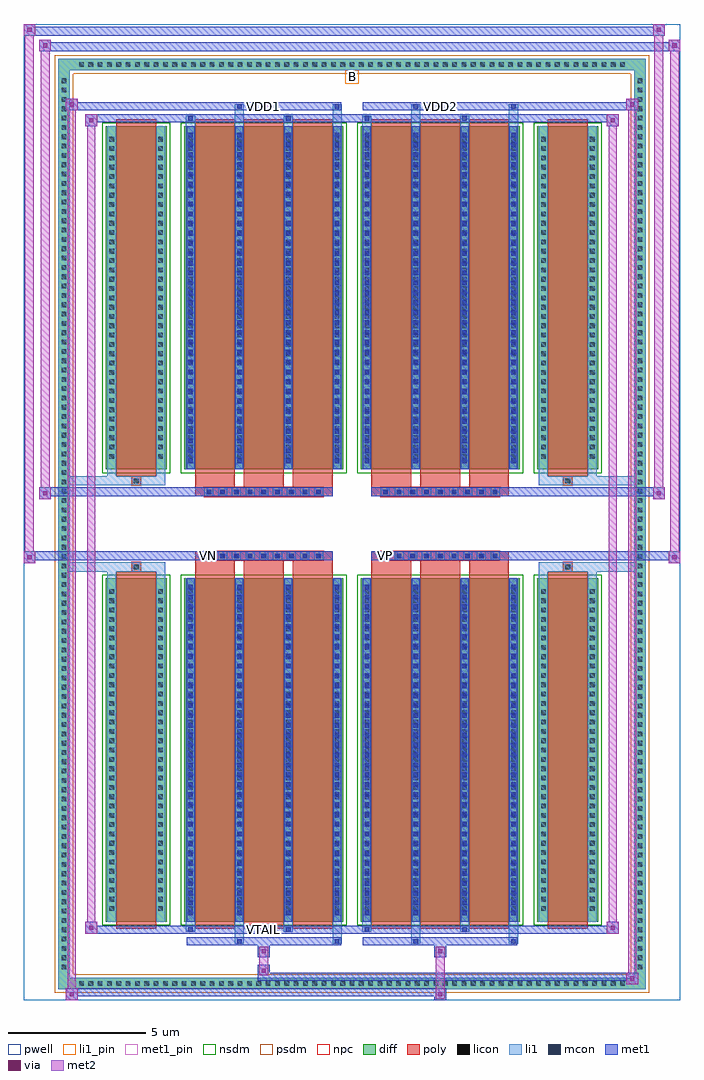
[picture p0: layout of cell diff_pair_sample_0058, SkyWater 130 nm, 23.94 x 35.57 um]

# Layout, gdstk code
import gdstk
lib = gdstk.Library(unit=1e-6, precision=5e-09)
def R(c, l, rs):  # rectangles x0, y0, x1, y1
    for r in rs: c.add(gdstk.rectangle(r[:2], r[2:], *l))
def A(c, l, x, y, w, h, nx, ny, dx, dy):  # array of equal rectangles
    R(c, l, [(x+i*dx, y+j*dy, x+i*dx+w, y+j*dy+h) for i in range(nx) for j in range(ny)])
def P(c, l, *ps):  # polygons
    for p in ps: c.add(gdstk.Polygon(p, *l))
pwell = (64, 44)
diff = (65, 20)
poly = (66, 20)
licon = (66, 44)
li1_pin = (67, 16)
li1 = (67, 20)
mcon = (67, 44)
met1_pin = (68, 16)
met1 = (68, 20)
via = (68, 44)
met2 = (69, 20)
nsdm = (93, 44)
psdm = (94, 20)
npc = (95, 20)

diff_pair_sample_0058 = lib.new_cell('diff_pair_sample_0058')
R(diff_pair_sample_0058, pwell, [(-11.97,-17.35,11.97,18.22), (-9.29,-15.54,-0.01,-0.8), (0.01,-15.54,9.29,-0.8), (-9.29,0.8,-0.01,15.54), (0.01,0.8,9.29,15.54)])
A(diff_pair_sample_0058, diff, -10.065, -16.95, 0.41, 0.41, 59, 2, 0.34, 33.49)
A(diff_pair_sample_0058, diff, -10.7, -16.355, 0.41, 0.41, 1, 96, 0, 0.34)
A(diff_pair_sample_0058, diff, 10.29, -16.355, 0.41, 0.41, 1, 96, 0, 0.34)
R(diff_pair_sample_0058, diff, [(-10.065,-16.95,10.065,-16.54), (-10.7,-16.355,-10.29,16.355), (10.29,-16.355,10.7,16.355), (-8.98,-14.495,-6.75,-1.985), (-6.11,-14.495,-0.32,-1.985), (0.32,-14.495,6.11,-1.985), (6.75,-14.495,8.98,-1.985), (-8.98,1.985,-6.75,14.495), (-6.11,1.985,-0.32,14.495), (0.32,1.985,6.11,14.495), (6.75,1.985,8.98,14.495), (-10.065,16.54,10.065,16.95)])
P(diff_pair_sample_0058, diff, [(10.7,16.95),(-10.7,16.95),(-10.7,-16.54),(-10.29,-16.54),(-10.29,16.54),(10.29,16.54),(10.29,-16.54),(-10.29,-16.54),(-10.7,-16.54),(-10.7,-16.95),(10.7,-16.95)])
A(diff_pair_sample_0058, poly, -5.72, -14.745, 1.45, 13.01, 3, 2, 1.78, 16.48)
A(diff_pair_sample_0058, poly, 0.71, -14.745, 1.45, 13.01, 3, 2, 1.78, 16.48)
A(diff_pair_sample_0058, poly, -5.72, -1.735, 1.45, 0.405, 3, 2, 1.78, 3.065)
A(diff_pair_sample_0058, poly, 0.71, -1.735, 1.45, 0.405, 3, 2, 1.78, 3.065)
A(diff_pair_sample_0058, poly, -5.38, -1.33, 0.33, 0.33, 9, 2, 0.5, 2.33)
A(diff_pair_sample_0058, poly, 1.05, -1.33, 0.33, 0.33, 9, 2, 0.5, 2.33)
R(diff_pair_sample_0058, poly, [(-8.59,-14.745,-7.14,-1.735), (7.14,-14.745,8.59,-1.735), (-8.03,-1.735,-7.7,-1.405), (-8.03,-1.735,-7.7,-1.405), (7.7,-1.735,8.03,-1.405), (7.7,-1.735,8.03,-1.405), (-5.72,-1.33,-0.71,-1), (0.71,-1.33,5.72,-1), (-5.72,1,-0.71,1.33), (0.71,1,5.72,1.33), (-8.03,1.405,-7.7,1.735), (-8.03,1.405,-7.7,1.735), (7.7,1.405,8.03,1.735), (7.7,1.405,8.03,1.735), (-8.59,1.735,-7.14,14.745), (7.14,1.735,8.59,14.745)])
A(diff_pair_sample_0058, licon, -9.945, -16.83, 0.17, 0.17, 59, 2, 0.34, 33.49)
A(diff_pair_sample_0058, licon, -10.58, -16.235, 0.17, 0.17, 1, 96, 0, 0.34)
A(diff_pair_sample_0058, licon, 10.41, -16.235, 0.17, 0.17, 1, 96, 0, 0.34)
A(diff_pair_sample_0058, licon, -8.84, -14.105, 0.17, 0.17, 1, 35, 0, 0.34)
A(diff_pair_sample_0058, licon, -7.06, -14.105, 0.17, 0.17, 1, 35, 0, 0.34)
A(diff_pair_sample_0058, licon, -5.97, -14.105, 0.17, 0.17, 4, 35, 1.78, 0.34)
A(diff_pair_sample_0058, licon, 0.46, -14.105, 0.17, 0.17, 4, 35, 1.78, 0.34)
A(diff_pair_sample_0058, licon, 6.89, -14.105, 0.17, 0.17, 1, 35, 0, 0.34)
A(diff_pair_sample_0058, licon, 8.67, -14.105, 0.17, 0.17, 1, 35, 0, 0.34)
A(diff_pair_sample_0058, licon, -5.3, -1.25, 0.17, 0.17, 9, 2, 0.5, 2.33)
A(diff_pair_sample_0058, licon, 1.13, -1.25, 0.17, 0.17, 9, 2, 0.5, 2.33)
A(diff_pair_sample_0058, licon, -8.84, 2.375, 0.17, 0.17, 1, 35, 0, 0.34)
A(diff_pair_sample_0058, licon, -7.06, 2.375, 0.17, 0.17, 1, 35, 0, 0.34)
A(diff_pair_sample_0058, licon, -5.97, 2.375, 0.17, 0.17, 4, 35, 1.78, 0.34)
A(diff_pair_sample_0058, licon, 0.46, 2.375, 0.17, 0.17, 4, 35, 1.78, 0.34)
A(diff_pair_sample_0058, licon, 6.89, 2.375, 0.17, 0.17, 1, 35, 0, 0.34)
A(diff_pair_sample_0058, licon, 8.67, 2.375, 0.17, 0.17, 1, 35, 0, 0.34)
R(diff_pair_sample_0058, licon, [(-7.95,-1.655,-7.78,-1.485), (7.78,-1.655,7.95,-1.485), (-7.95,1.485,-7.78,1.655), (7.78,1.485,7.95,1.655)])
R(diff_pair_sample_0058, li1_pin, [(-0.25,16.04,0.25,16.54)])
A(diff_pair_sample_0058, li1, -10.025, -16.91, 0.33, 0.33, 59, 2, 0.34, 33.49)
A(diff_pair_sample_0058, li1, -10.66, -16.315, 0.33, 0.33, 1, 96, 0, 0.34)
A(diff_pair_sample_0058, li1, 10.33, -16.315, 0.33, 0.33, 1, 96, 0, 0.34)
A(diff_pair_sample_0058, li1, -6.05, -14.495, 0.33, 12.51, 4, 2, 1.78, 16.48)
A(diff_pair_sample_0058, li1, 0.38, -14.495, 0.33, 12.51, 4, 2, 1.78, 16.48)
A(diff_pair_sample_0058, li1, -5.97, -14.265, 0.17, 0.17, 4, 34, 1.78, 0.36)
A(diff_pair_sample_0058, li1, -5.97, -14.265, 0.17, 12.05, 4, 2, 1.78, 16.48)
A(diff_pair_sample_0058, li1, 0.46, -14.265, 0.17, 0.17, 4, 34, 1.78, 0.36)
A(diff_pair_sample_0058, li1, 0.46, -14.265, 0.17, 12.05, 4, 2, 1.78, 16.48)
A(diff_pair_sample_0058, li1, -8.92, -14.185, 0.33, 0.33, 1, 35, 0, 0.34)
A(diff_pair_sample_0058, li1, -7.14, -14.185, 0.33, 0.33, 1, 35, 0, 0.34)
A(diff_pair_sample_0058, li1, -6.05, -14.185, 0.33, 0.33, 4, 35, 1.78, 0.34)
A(diff_pair_sample_0058, li1, 0.38, -14.185, 0.33, 0.33, 4, 35, 1.78, 0.34)
A(diff_pair_sample_0058, li1, 6.81, -14.185, 0.33, 0.33, 1, 35, 0, 0.34)
A(diff_pair_sample_0058, li1, 8.59, -14.185, 0.33, 0.33, 1, 35, 0, 0.34)
A(diff_pair_sample_0058, li1, -5.38, -1.33, 0.33, 0.33, 9, 2, 0.5, 2.33)
A(diff_pair_sample_0058, li1, 1.05, -1.33, 0.33, 0.33, 9, 2, 0.5, 2.33)
A(diff_pair_sample_0058, li1, -5.97, 2.215, 0.17, 0.17, 4, 34, 1.78, 0.36)
A(diff_pair_sample_0058, li1, 0.46, 2.215, 0.17, 0.17, 4, 34, 1.78, 0.36)
A(diff_pair_sample_0058, li1, -8.92, 2.295, 0.33, 0.33, 1, 35, 0, 0.34)
A(diff_pair_sample_0058, li1, -7.14, 2.295, 0.33, 0.33, 1, 35, 0, 0.34)
A(diff_pair_sample_0058, li1, -6.05, 2.295, 0.33, 0.33, 4, 35, 1.78, 0.34)
A(diff_pair_sample_0058, li1, 0.38, 2.295, 0.33, 0.33, 4, 35, 1.78, 0.34)
A(diff_pair_sample_0058, li1, 6.81, 2.295, 0.33, 0.33, 1, 35, 0, 0.34)
A(diff_pair_sample_0058, li1, 8.59, 2.295, 0.33, 0.33, 1, 35, 0, 0.34)
R(diff_pair_sample_0058, li1, [(-10.7,-16.95,-10.29,-16.54), (-10.7,-16.95,-10.29,-16.54), (-10.29,-16.95,10.29,-16.54), (10.29,-16.95,10.7,-16.54), (10.29,-16.95,10.7,-16.54), (-10.7,-16.54,-10.29,16.54), (10.29,-16.54,10.7,16.54), (-4.27,-15.3,-3.94,-14.495), (-4.19,-15.3,-4.02,-15.13), (-0.71,-15.3,-0.38,-14.495), (-0.63,-15.3,-0.46,-15.13), (2.16,-15.3,2.49,-14.495), (2.24,-15.3,2.41,-15.13), (5.72,-15.3,6.05,-14.495), (5.8,-15.3,5.97,-15.13), (-6.05,-14.87,-5.72,-14.495), (-5.97,-14.87,-5.8,-14.7), (-2.49,-14.87,-2.16,-14.495), (-2.41,-14.87,-2.24,-14.7), (0.38,-14.87,0.71,-14.495), (0.46,-14.87,0.63,-14.7), (3.94,-14.87,4.27,-14.495), (4.02,-14.87,4.19,-14.7), (-8.92,-14.495,-8.59,-1.985), (-7.14,-14.495,-6.81,-1.985), (6.81,-14.495,7.14,-1.985), (8.59,-14.495,8.92,-1.985), (-8.92,-1.985,-8.59,-1.405), (-7.14,-1.985,-6.81,-1.405), (6.81,-1.985,7.14,-1.405), (8.59,-1.985,8.92,-1.405), (-10.7,-1.735,-8.03,-1.405), (-8.92,-1.735,-8.03,-1.405), (-8.03,-1.735,-7.7,-1.405), (-7.7,-1.735,-6.81,-1.405), (6.81,-1.735,7.7,-1.405), (7.7,-1.735,8.03,-1.405), (7.7,-1.735,10.7,-1.405), (8.03,-1.735,8.92,-1.405), (-10.7,1.405,-8.03,1.735), (-8.92,1.405,-8.03,1.735), (-8.92,1.405,-8.59,1.985), (-8.03,1.405,-7.7,1.735), (-7.7,1.405,-6.81,1.735), (-7.14,1.405,-6.81,1.985), (6.81,1.405,7.7,1.735), (6.81,1.405,7.14,1.985), (7.7,1.405,8.03,1.735), (7.7,1.405,10.7,1.735), (8.03,1.405,8.92,1.735), (8.59,1.405,8.92,1.985), (-8.92,1.985,-8.59,14.495), (-7.14,1.985,-6.81,14.495), (6.81,1.985,7.14,14.495), (8.59,1.985,8.92,14.495), (-6.05,14.495,-5.72,14.87), (-4.27,14.495,-3.94,15.3), (-2.49,14.495,-2.16,14.87), (-0.71,14.495,-0.38,15.3), (0.38,14.495,0.71,14.87), (2.16,14.495,2.49,15.3), (3.94,14.495,4.27,14.87), (5.72,14.495,6.05,15.3), (-5.97,14.7,-5.8,14.87), (-2.41,14.7,-2.24,14.87), (0.46,14.7,0.63,14.87), (4.02,14.7,4.19,14.87), (-4.19,15.13,-4.02,15.3), (-0.63,15.13,-0.46,15.3), (2.24,15.13,2.41,15.3), (5.8,15.13,5.97,15.3), (-10.7,16.54,-10.29,16.95), (-10.7,16.54,-10.29,16.95), (-10.29,16.54,10.29,16.95), (10.29,16.54,10.7,16.95), (10.29,16.54,10.7,16.95)])
A(diff_pair_sample_0058, mcon, -5.97, -14.265, 0.17, 0.17, 4, 34, 1.78, 0.36)
A(diff_pair_sample_0058, mcon, 0.46, -14.265, 0.17, 0.17, 4, 34, 1.78, 0.36)
A(diff_pair_sample_0058, mcon, -5.3, -1.25, 0.17, 0.17, 9, 2, 0.5, 2.33)
A(diff_pair_sample_0058, mcon, 1.13, -1.25, 0.17, 0.17, 9, 2, 0.5, 2.33)
A(diff_pair_sample_0058, mcon, -5.97, 2.215, 0.17, 0.17, 4, 34, 1.78, 0.36)
A(diff_pair_sample_0058, mcon, 0.46, 2.215, 0.17, 0.17, 4, 34, 1.78, 0.36)
R(diff_pair_sample_0058, mcon, [(-4.19,-15.3,-4.02,-15.13), (-0.63,-15.3,-0.46,-15.13), (2.24,-15.3,2.41,-15.13), (5.8,-15.3,5.97,-15.13), (-5.97,-14.87,-5.8,-14.7), (-2.41,-14.87,-2.24,-14.7), (0.46,-14.87,0.63,-14.7), (4.02,-14.87,4.19,-14.7), (-5.97,14.7,-5.8,14.87), (-2.41,14.7,-2.24,14.87), (0.46,14.7,0.63,14.87), (4.02,14.7,4.19,14.87), (-4.19,15.13,-4.02,15.3), (-0.63,15.13,-0.46,15.3), (2.24,15.13,2.41,15.3), (5.8,15.13,5.97,15.3)])
R(diff_pair_sample_0058, met1_pin, [(-3.35,-14.91,-3.08,-14.64), (-5.35,-1.29,-5.08,-1.02), (1.08,-1.29,1.35,-1.02), (-3.35,15.09,-3.08,15.36), (3.08,15.09,3.35,15.36)])
A(diff_pair_sample_0058, met1, -6.03, -14.495, 0.29, 12.51, 4, 2, 1.78, 16.48)
A(diff_pair_sample_0058, met1, 0.4, -14.495, 0.29, 12.51, 4, 2, 1.78, 16.48)
A(diff_pair_sample_0058, met1, -6.03, -14.325, 0.29, 0.29, 4, 34, 1.78, 0.36)
A(diff_pair_sample_0058, met1, 0.4, -14.325, 0.29, 0.29, 4, 34, 1.78, 0.36)
A(diff_pair_sample_0058, met1, -5.36, -1.31, 0.29, 0.29, 9, 2, 0.5, 2.33)
A(diff_pair_sample_0058, met1, 1.07, -1.31, 0.29, 0.29, 9, 2, 0.5, 2.33)
A(diff_pair_sample_0058, met1, -6.03, 2.155, 0.29, 0.29, 4, 34, 1.78, 0.36)
A(diff_pair_sample_0058, met1, 0.4, 2.155, 0.29, 0.29, 4, 34, 1.78, 0.36)
R(diff_pair_sample_0058, met1, [(-10.43,-17.35,-10,-16.92), (3,-17.35,3.43,-16.92), (-10.43,-17.21,3.43,-16.92), (10,-16.78,10.43,-16.35), (-3.43,-16.64,10.43,-16.35), (-3.43,-16.5,-3,-16.07), (-3.43,-15.79,-3,-15.36), (3,-15.79,3.43,-15.36), (-6.03,-15.36,-0.4,-15.07), (-4.25,-15.36,-3.96,-15.07), (-0.69,-15.36,-0.4,-15.07), (0.4,-15.36,6.03,-15.07), (2.18,-15.36,2.47,-15.07), (5.74,-15.36,6.03,-15.07), (-9.72,-14.93,-9.29,-14.5), (-9.72,-14.93,-6.03,-14.64), (-6.03,-14.93,-5.74,-14.64), (-6.03,-14.93,-0.4,-14.64), (-2.47,-14.93,-2.18,-14.64), (-0.4,-14.93,0.4,-14.64), (0.4,-14.93,0.69,-14.64), (0.4,-14.93,6.03,-14.64), (3.96,-14.93,4.25,-14.64), (6.03,-14.93,9.72,-14.64), (9.29,-14.93,9.72,-14.5), (-11.97,-1.43,-11.54,-1), (11.54,-1.43,11.97,-1), (-11.97,-1.33,-0.71,-1), (-5.72,-1.33,-0.71,-1), (0.71,-1.33,5.72,-1), (0.71,-1.33,11.97,-1), (-11.4,0.9,-10.97,1.33), (10.97,0.9,11.4,1.33), (-11.4,1,-5.72,1.33), (-5.72,1,-0.71,1.33), (0.71,1,5.72,1.33), (5.72,1,11.4,1.33), (-9.72,14.5,-9.29,14.93), (9.29,14.5,9.72,14.93), (-9.72,14.64,-6.03,14.93), (-6.03,14.64,-5.74,14.93), (-6.03,14.64,-0.4,14.93), (-2.47,14.64,-2.18,14.93), (-0.4,14.64,0.4,14.93), (0.4,14.64,0.69,14.93), (0.4,14.64,6.03,14.93), (3.96,14.64,4.25,14.93), (6.03,14.64,9.72,14.93), (-10.43,15.07,-10,15.5), (-10.43,15.07,-6.03,15.36), (-6.03,15.07,-0.4,15.36), (-4.25,15.07,-3.96,15.36), (-0.69,15.07,-0.4,15.36), (0.4,15.07,6.03,15.36), (2.18,15.07,2.47,15.36), (5.74,15.07,6.03,15.36), (6.03,15.07,10.43,15.36), (10,15.07,10.43,15.5), (-11.4,17.22,-10.97,17.65), (-11.4,17.22,-9.29,17.55), (-9.29,17.22,9.29,17.55), (9.29,17.22,11.97,17.55), (11.54,17.22,11.97,17.65), (-11.97,17.79,-11.54,18.22), (-11.97,17.79,-9.29,18.12), (-9.29,17.79,9.29,18.12), (9.29,17.79,11.4,18.12), (10.97,17.79,11.4,18.22)])
R(diff_pair_sample_0058, via, [(-10.29,-17.21,-10.14,-17.06), (3.14,-17.21,3.29,-17.06), (10.14,-16.64,10.29,-16.49), (-3.29,-16.36,-3.14,-16.21), (-3.29,-15.65,-3.14,-15.5), (3.14,-15.65,3.29,-15.5), (-9.58,-14.79,-9.43,-14.64), (9.43,-14.79,9.58,-14.64), (-11.83,-1.29,-11.68,-1.14), (11.68,-1.29,11.83,-1.14), (-11.26,1.04,-11.11,1.19), (11.11,1.04,11.26,1.19), (-9.58,14.64,-9.43,14.79), (9.43,14.64,9.58,14.79), (-10.29,15.21,-10.14,15.36), (10.14,15.21,10.29,15.36), (-11.26,17.36,-11.11,17.51), (11.68,17.36,11.83,17.51), (-11.83,17.93,-11.68,18.08), (11.11,17.93,11.26,18.08)])
R(diff_pair_sample_0058, met2, [(-10.43,-17.35,-10,-16.92), (-10.36,-17.35,-10.07,15.5), (-10.07,-17.35,-10,-16.92), (-10.38,-17.3,-10.05,-16.97), (3.05,-17.3,3.38,-16.97), (3.05,-16.97,3.38,-15.74), (10,-16.78,10.43,-16.35), (10.07,-16.78,10.36,15.5), (10.36,-16.78,10.43,-16.35), (10.05,-16.73,10.38,-16.4), (-3.38,-16.45,-3.05,-16.12), (-3.38,-16.12,-3.05,-15.74), (-3.38,-15.74,-3.05,-15.41), (3.05,-15.74,3.38,-15.41), (-9.72,-14.93,-9.29,-14.5), (-9.65,-14.93,-9.36,14.93), (-9.36,-14.93,-9.29,-14.5), (9.29,-14.93,9.72,-14.5), (9.36,-14.93,9.65,14.93), (9.65,-14.93,9.72,-14.5), (-9.67,-14.88,-9.34,-14.55), (9.34,-14.88,9.67,-14.55), (-11.97,-1.43,-11.54,-1), (-11.92,-1.43,-11.59,18.22), (-11.59,-1.43,-11.54,-1), (11.54,-1.43,11.97,-1), (11.59,-1.43,11.92,17.65), (11.92,-1.43,11.97,-1), (-11.92,-1.38,-11.59,-1.05), (11.59,-1.38,11.92,-1.05), (-11.4,0.9,-10.97,1.33), (-11.35,0.9,-11.02,17.65), (-11.02,0.9,-10.97,1.33), (10.97,0.9,11.4,1.33), (11.02,0.9,11.35,18.22), (11.35,0.9,11.4,1.33), (-11.35,0.95,-11.02,1.28), (11.02,0.95,11.35,1.28), (-9.72,14.5,-9.29,14.93), (-9.36,14.5,-9.29,14.93), (9.29,14.5,9.72,14.93), (9.65,14.5,9.72,14.93), (-9.67,14.55,-9.34,14.88), (9.34,14.55,9.67,14.88), (-10.43,15.07,-10,15.5), (-10.07,15.07,-10,15.5), (10,15.07,10.43,15.5), (10.36,15.07,10.43,15.5), (-10.38,15.12,-10.05,15.45), (10.05,15.12,10.38,15.45), (-11.4,17.22,-10.97,17.65), (-11.02,17.22,-10.97,17.65), (11.54,17.22,11.97,17.65), (11.92,17.22,11.97,17.65), (-11.35,17.27,-11.02,17.6), (11.59,17.27,11.92,17.6), (-11.97,17.79,-11.54,18.22), (-11.59,17.79,-11.54,18.22), (10.97,17.79,11.4,18.22), (11.35,17.79,11.4,18.22), (-11.92,17.84,-11.59,18.17), (11.02,17.84,11.35,18.17)])
R(diff_pair_sample_0058, nsdm, [(-9.11,-14.625,-6.62,-1.855), (-6.24,-14.625,-0.19,-1.855), (0.19,-14.625,6.24,-1.855), (6.62,-14.625,9.11,-1.855), (-9.11,1.855,-6.62,14.625), (-6.24,1.855,-0.19,14.625), (0.19,1.855,6.24,14.625), (6.62,1.855,9.11,14.625)])
P(diff_pair_sample_0058, psdm, [(10.83,17.08),(-10.83,17.08),(-10.83,-16.41),(-10.16,-16.41),(-10.16,16.41),(10.16,16.41),(10.16,-16.41),(-10.16,-16.41),(-10.83,-16.41),(-10.83,-17.08),(10.83,-17.08)])
A(diff_pair_sample_0058, npc, -5.4, -1.35, 0.37, 0.37, 9, 2, 0.5, 2.33)
A(diff_pair_sample_0058, npc, 1.03, -1.35, 0.37, 0.37, 9, 2, 0.5, 2.33)
R(diff_pair_sample_0058, npc, [(-8.05,-1.755,-7.68,-1.385), (7.68,-1.755,8.05,-1.385), (-5.4,-1.35,-4.53,-0.98), (-5.4,-1.35,-4.53,-0.98), (-4.9,-1.35,-4.03,-0.98), (-4.9,-1.35,-4.03,-0.98), (-4.4,-1.35,-3.53,-0.98), (-4.4,-1.35,-3.53,-0.98), (-3.9,-1.35,-3.03,-0.98), (-3.9,-1.35,-3.03,-0.98), (-3.4,-1.35,-2.53,-0.98), (-3.4,-1.35,-2.53,-0.98), (-2.9,-1.35,-2.03,-0.98), (-2.9,-1.35,-2.03,-0.98), (-2.4,-1.35,-1.53,-0.98), (-2.4,-1.35,-1.53,-0.98), (-1.9,-1.35,-1.03,-0.98), (-1.9,-1.35,-1.03,-0.98), (1.03,-1.35,1.9,-0.98), (1.03,-1.35,1.9,-0.98), (1.53,-1.35,2.4,-0.98), (1.53,-1.35,2.4,-0.98), (2.03,-1.35,2.9,-0.98), (2.03,-1.35,2.9,-0.98), (2.53,-1.35,3.4,-0.98), (2.53,-1.35,3.4,-0.98), (3.03,-1.35,3.9,-0.98), (3.03,-1.35,3.9,-0.98), (3.53,-1.35,4.4,-0.98), (3.53,-1.35,4.4,-0.98), (4.03,-1.35,4.9,-0.98), (4.03,-1.35,4.9,-0.98), (4.53,-1.35,5.4,-0.98), (4.53,-1.35,5.4,-0.98), (-5.4,0.98,-4.53,1.35), (-5.4,0.98,-4.53,1.35), (-4.9,0.98,-4.03,1.35), (-4.9,0.98,-4.03,1.35), (-4.4,0.98,-3.53,1.35), (-4.4,0.98,-3.53,1.35), (-3.9,0.98,-3.03,1.35), (-3.9,0.98,-3.03,1.35), (-3.4,0.98,-2.53,1.35), (-3.4,0.98,-2.53,1.35), (-2.9,0.98,-2.03,1.35), (-2.9,0.98,-2.03,1.35), (-2.4,0.98,-1.53,1.35), (-2.4,0.98,-1.53,1.35), (-1.9,0.98,-1.03,1.35), (-1.9,0.98,-1.03,1.35), (1.03,0.98,1.9,1.35), (1.03,0.98,1.9,1.35), (1.53,0.98,2.4,1.35), (1.53,0.98,2.4,1.35), (2.03,0.98,2.9,1.35), (2.03,0.98,2.9,1.35), (2.53,0.98,3.4,1.35), (2.53,0.98,3.4,1.35), (3.03,0.98,3.9,1.35), (3.03,0.98,3.9,1.35), (3.53,0.98,4.4,1.35), (3.53,0.98,4.4,1.35), (4.03,0.98,4.9,1.35), (4.03,0.98,4.9,1.35), (4.53,0.98,5.4,1.35), (4.53,0.98,5.4,1.35), (-8.05,1.385,-7.68,1.755), (7.68,1.385,8.05,1.755)])
diff_pair_sample_0058.add(gdstk.Label('VTAIL', (-3.215,-14.775), layer=68, texttype=5))
diff_pair_sample_0058.add(gdstk.Label('VN', (-5.215,-1.155), layer=68, texttype=5))
diff_pair_sample_0058.add(gdstk.Label('VP', (1.215,-1.155), layer=68, texttype=5))
diff_pair_sample_0058.add(gdstk.Label('B', (0,16.29), layer=67, texttype=5))
diff_pair_sample_0058.add(gdstk.Label('VDD2', (3.215,15.225), layer=68, texttype=5))
diff_pair_sample_0058.add(gdstk.Label('VDD1', (-3.215,15.225), layer=68, texttype=5))

lib.write_gds('diff_pair_sample_0058.gds')
